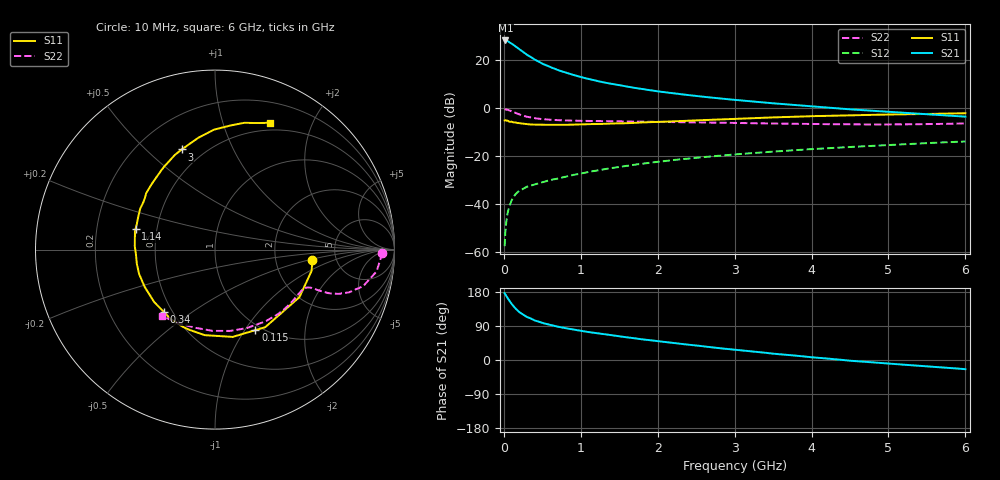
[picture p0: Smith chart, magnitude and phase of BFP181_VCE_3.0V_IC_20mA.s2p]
! Infineon Technologies  Discrete & RF Semiconductors
! BFP181
! VCE = 3.0 V,  IC =  20 mA
! Common Emitter S-Parameters:  Jan 2016
# GHz  S  MA  R  50
!  f  S11  S21  S12  S22
! GHz  MAG  ANG  MAG  ANG  MAG  ANG  MAG  ANG
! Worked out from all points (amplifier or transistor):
!   210 points, 10 MHz to 6 GHz, reference 50 ohm
!   highest |S21| = 28.1 dB at 20 MHz (marker M1)
!   |S21| within 3 dB of that: start of sweep to 174.9 MHz
!   unconditionally stable (mu >= 1): start of sweep to 16.45 MHz; 463.7 MHz to end of sweep
!   at 185 MHz: K = 0.54, MSG = 29.9 dB, |S12| = -35.0 dB
!   at 1.52 GHz: K = 1.48, MAG = 12.8 dB, |S12| = -24.6 dB
!   at 6 GHz: K = 1.11, MAG = 3.2 dB, |S12| = -14.0 dB
!   S11 on the Smith chart (normalised r, x): 10 MHz: 3.30, -0.54; 115 MHz: 0.93, -1.12; 340 MHz: 0.45, -0.40; 1.14 GHz: 0.38, +0.11; 3 GHz: 0.38, +0.65; 6 GHz: 0.41, +1.44
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0.01  0.5448 -6.1  25.36 176.4  0.0013 78.8  0.9287 -1.1
0.02  0.5514 -12.3  25.37 173.3  0.0026 78.2  0.9252 -2.9
0.05  0.5399 -29.4  24.57 163.0  0.0065 78.6  0.9084 -7.7
0.1  0.5149 -57.1  21.95 148.1  0.0117 66.4  0.8499 -13.9
0.115  0.502 -63.3  21.06 144.8  0.0129 64.1  0.8297 -15.0
0.15  0.4964 -78.5  19.28 136.0  0.0157 60.0  0.7839 -17.7
0.2  0.4801 -97.0  16.75 126.6  0.0186 56.9  0.7285 -19.8
0.26  0.4656 -113.2  14.16 118.2  0.0208 52.8  0.6764 -21.0
0.3  0.4591 -122.3  12.79 113.6  0.0226 52.3  0.6495 -21.3
0.34  0.4497 -129.0  11.72 110.4  0.0237 52.3  0.6321 -21.4
0.4  0.4474 -139.3  10.19 104.4  0.0253 52.3  0.606 -21.5
0.5  0.4435 -152.0  8.329 97.7  0.0279 51.8  0.5794 -21.6
0.6  0.4441 -162.1  7.115 92.5  0.0311 53.4  0.563 -22.0
0.8  0.4407 -176.4  5.438 83.9  0.0364 54.8  0.5453 -23.2
1.02  0.4519 170.9  4.29 76.4  0.0431 56.1  0.534 -25.3
1.14  0.4572 165.4  3.862 72.7  0.0471 56.4  0.5301 -26.7
2.02  0.5089 133.4  2.182 49.3  0.0752 54.7  0.5106 -39.6
3  0.588 108.4  1.464 27.1  0.1065 48.8  0.4835 -57.4
3.1  0.5949 106.3  1.416 25.3  0.1095 48.0  0.4799 -59.5
4.1  0.6728 89.0  1.043 5.7  0.1404 40.4  0.4577 -81.7
5.1  0.7284 75.8  0.804 -10.9  0.1701 32.6  0.4492 -106.4
6  0.7706 66.5  0.654 -24.2  0.1985 24.7  0.473 -128.4
